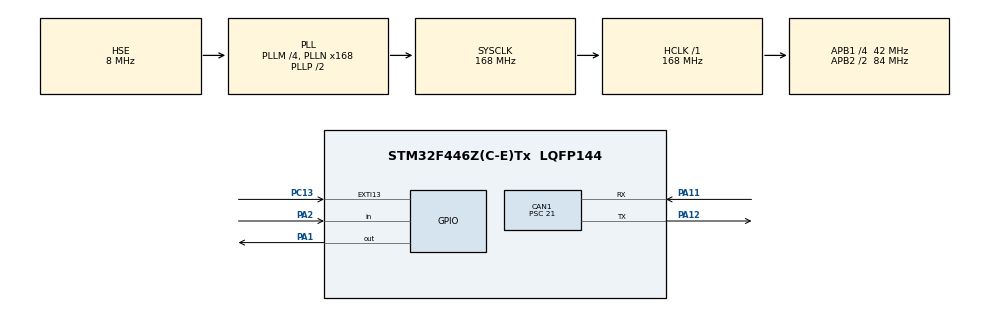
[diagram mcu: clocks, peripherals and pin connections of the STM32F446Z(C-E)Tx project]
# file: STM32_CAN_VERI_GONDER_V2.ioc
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CAN1.BS1=CAN_BS1_5TQ
CAN1.BS2=CAN_BS2_2TQ
CAN1.CalculateBaudRate=250000
CAN1.CalculateTimeBit=4000
CAN1.CalculateTimeQuantum=500.0
CAN1.Prescaler=21
Mcu.Family=STM32F4
Mcu.Name=STM32F446Z(C-E)Tx
Mcu.Package=LQFP144
NVIC.CAN1_RX1_IRQn=true\:0\:0\:false\:false\:true\:true\:true\:true
NVIC.EXTI15_10_IRQn=true\:0\:0\:false\:false\:true\:true\:true\:true
NVIC.PriorityGroup=NVIC_PRIORITYGROUP_4
PA1.Signal=GPIO_Output
PA11.Mode=CAN_Activate
PA11.Signal=CAN1_RX
PA12.Mode=CAN_Activate
PA12.Signal=CAN1_TX
PA13.Mode=Serial_Wire
PA13.Signal=SYS_JTMS-SWDIO
PA14.Mode=Serial_Wire
PA14.Signal=SYS_JTCK-SWCLK
PA2.Signal=GPIO_Input
PC13.Signal=GPXTI13
PH0-OSC_IN.Mode=HSE-External-Oscillator
PH0-OSC_IN.Signal=RCC_OSC_IN
PH1-OSC_OUT.Mode=HSE-External-Oscillator
PH1-OSC_OUT.Signal=RCC_OSC_OUT
ProjectManager.HeapSize=0x200
ProjectManager.StackSize=0x400
ProjectManager.TargetToolchain=STM32CubeIDE
RCC.AHBFreq_Value=168000000
RCC.APB1CLKDivider=RCC_HCLK_DIV4
RCC.APB1Freq_Value=42000000
RCC.APB1TimFreq_Value=84000000
RCC.APB2CLKDivider=RCC_HCLK_DIV2
RCC.APB2Freq_Value=84000000
RCC.APB2TimFreq_Value=168000000
RCC.CortexFreq_Value=168000000
RCC.HCLKFreq_Value=168000000
RCC.HSE_VALUE=8000000
RCC.PLLM=4
RCC.PLLN=168
RCC.PLLSourceVirtual=RCC_PLLSOURCE_HSE
RCC.SYSCLKFreq_VALUE=168000000
RCC.SYSCLKSource=RCC_SYSCLKSOURCE_PLLCLK
RCC.USBFreq_Value=168000000
RCC.VCOOutputFreq_Value=336000000
board=custom

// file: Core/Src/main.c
/* USER CODE BEGIN Header */
/**
  ******************************************************************************
  * @file           : main.c
  * @brief          : Main program body
  ******************************************************************************
  * @attention
  *
  * Copyright (c) 2024 STMicroelectronics.
  * All rights reserved.
  *
  * This software is licensed under terms that can be found in the LICENSE file
  * in the root directory of this software component.
  * If no LICENSE file comes with this software, it is provided AS-IS.
  *
  ******************************************************************************
  */
/* USER CODE END Header */
#include "main.h"

/* USER CODE BEGIN Includes */
#include  "dwt_stm32_delay.h"
/* USER CODE END Includes */

CAN_HandleTypeDef hcan1;

void SystemClock_Config(void);
static void MX_GPIO_Init(void);
static void MX_CAN1_Init(void);

/* USER CODE BEGIN 0 */

CAN_TxHeaderTypeDef TxHeader;
CAN_RxHeaderTypeDef RxHeader;
uint32_t TxMailbox;
uint8_t TxData[8];
uint8_t RxData[8];

uint32_t sensor_time;
uint32_t distance;
int datacheck = 0;

void HAL_GPIO_EXTI_Callback(uint16_t GPIO_Pin)
{
	if (GPIO_Pin == GPIO_PIN_13)
	{
		TxData[0] =100;
		TxData[1] = 10;
		HAL_CAN_AddTxMessage(&hcan1, &TxHeader, TxData, &TxMailbox);
	}

}

void HAL_CAN_RxFifo0MsgPendingCallback(CAN_HandleTypeDef *hcan)
{
	HAL_CAN_GetRxMessage(&hcan1, CAN_RX_FIFO0, &RxHeader, RxData);
	if(RxHeader.DLC ==2)
	{
		datacheck = 1;
	}
}

uint32_t Read_HCSR04()
{
	uint32_t local_time = 0;

	HAL_GPIO_WritePin(GPIOA, GPIO_PIN_1, GPIO_PIN_SET);
	DWT_Delay_us(10);
	HAL_GPIO_WritePin(GPIOA, GPIO_PIN_1, GPIO_PIN_RESET);

	while(! (HAL_GPIO_ReadPin(GPIOA, GPIO_PIN_2)));

	while(HAL_GPIO_ReadPin(GPIOA, GPIO_PIN_2))
	{
		local_time ++;
		DWT_Delay_us(1);
	}
	return local_time * 2;
}
/* USER CODE END 0 */

int main(void)
{

  /* MCU Configuration--------------------------------------------------------*/

  /* Reset of all peripherals, Initializes the Flash interface and the Systick. */
  HAL_Init();

  /* Configure the system clock */
  SystemClock_Config();

  /* Initialize all configured peripherals */
  MX_GPIO_Init();
  MX_CAN1_Init();
  /* USER CODE BEGIN 2 */
  HAL_CAN_Start(&hcan1);
  HAL_CAN_ActivateNotification(&hcan1, CAN_IT_RX_FIFO0_MSG_PENDING);

  TxHeader.DLC = 2;  // data length
  TxHeader.IDE = CAN_ID_STD;
  TxHeader.RTR = CAN_RTR_DATA;
  TxHeader.StdId = 0x446;  // ID can be between Hex1 and Hex7FF (1-2047 decimal)

  /* USER CODE END 2 */

  /* Infinite loop */
  /* USER CODE BEGIN WHILE */
  while (1)
  {
//	  sensor_time = Read_HCSR04();
//	  distance = sensor_time* .034 / 2;
//	  HAL_CAN_AddTxMessage(&hcan2, &TxHeader, distance, &TxMailbox);
    /* USER CODE END WHILE */

    /* USER CODE BEGIN 3 */
	  if(datacheck)
	  {
		  for (int i= 0; i<RxData[1]; i++)
		  {
			  HAL_GPIO_TogglePin(GPIOA, GPIO_PIN_5);
			  HAL_Delay(RxData[0]);
		  }
		  datacheck = 0;
	  }
  }
  /* USER CODE END 3 */
}

void SystemClock_Config(void)
{
  RCC_OscInitTypeDef RCC_OscInitStruct = {0};
  RCC_ClkInitTypeDef RCC_ClkInitStruct = {0};

  /** Configure the main internal regulator output voltage
  */
  __HAL_RCC_PWR_CLK_ENABLE();
  __HAL_PWR_VOLTAGESCALING_CONFIG(PWR_REGULATOR_VOLTAGE_SCALE1);

  /** Initializes the RCC Oscillators according to the specified parameters
  * in the RCC_OscInitTypeDef structure.
  */
  RCC_OscInitStruct.OscillatorType = RCC_OSCILLATORTYPE_HSE;
  RCC_OscInitStruct.HSEState = RCC_HSE_ON;
  RCC_OscInitStruct.PLL.PLLState = RCC_PLL_ON;
  RCC_OscInitStruct.PLL.PLLSource = RCC_PLLSOURCE_HSE;
  RCC_OscInitStruct.PLL.PLLM = 4;
  RCC_OscInitStruct.PLL.PLLN = 168;
  RCC_OscInitStruct.PLL.PLLP = RCC_PLLP_DIV2;
  RCC_OscInitStruct.PLL.PLLQ = 2;
  RCC_OscInitStruct.PLL.PLLR = 2;
  if (HAL_RCC_OscConfig(&RCC_OscInitStruct) != HAL_OK)
  {
    Error_Handler();
  }

  /** Initializes the CPU, AHB and APB buses clocks
  */
  RCC_ClkInitStruct.ClockType = RCC_CLOCKTYPE_HCLK|RCC_CLOCKTYPE_SYSCLK
                              |RCC_CLOCKTYPE_PCLK1|RCC_CLOCKTYPE_PCLK2;
  RCC_ClkInitStruct.SYSCLKSource = RCC_SYSCLKSOURCE_PLLCLK;
  RCC_ClkInitStruct.AHBCLKDivider = RCC_SYSCLK_DIV1;
  RCC_ClkInitStruct.APB1CLKDivider = RCC_HCLK_DIV4;
  RCC_ClkInitStruct.APB2CLKDivider = RCC_HCLK_DIV2;

  if (HAL_RCC_ClockConfig(&RCC_ClkInitStruct, FLASH_LATENCY_5) != HAL_OK)
  {
    Error_Handler();
  }
}

static void MX_CAN1_Init(void)
{

  hcan1.Instance = CAN1;
  hcan1.Init.Prescaler = 21;
  hcan1.Init.Mode = CAN_MODE_NORMAL;
  hcan1.Init.SyncJumpWidth = CAN_SJW_1TQ;
  hcan1.Init.TimeSeg1 = CAN_BS1_5TQ;
  hcan1.Init.TimeSeg2 = CAN_BS2_2TQ;
  hcan1.Init.TimeTriggeredMode = DISABLE;
  hcan1.Init.AutoBusOff = DISABLE;
  hcan1.Init.AutoWakeUp = DISABLE;
  hcan1.Init.AutoRetransmission = DISABLE;
  hcan1.Init.ReceiveFifoLocked = DISABLE;
  hcan1.Init.TransmitFifoPriority = DISABLE;
  if (HAL_CAN_Init(&hcan1) != HAL_OK)
  {
    Error_Handler();
  }
  /* USER CODE BEGIN CAN1_Init 2 */
  CAN_FilterTypeDef canfilterconfig;

    canfilterconfig.FilterActivation = CAN_FILTER_ENABLE;
    canfilterconfig.FilterBank = 18;  // which filter bank to use from the assigned ones
    canfilterconfig.FilterFIFOAssignment = CAN_FILTER_FIFO0;
    canfilterconfig.FilterIdHigh = 0x103<<5;
    canfilterconfig.FilterIdLow = 0;
    canfilterconfig.FilterMaskIdHigh = 0x103<<5;
    canfilterconfig.FilterMaskIdLow = 0x0000;
    canfilterconfig.FilterMode = CAN_FILTERMODE_IDMASK;
    canfilterconfig.FilterScale = CAN_FILTERSCALE_32BIT;
    canfilterconfig.SlaveStartFilterBank = 20;  // how many filters to assign to the CAN1 (master can)

    HAL_CAN_ConfigFilter(&hcan1, &canfilterconfig);
  /* USER CODE END CAN1_Init 2 */

}

static void MX_GPIO_Init(void)
{
  GPIO_InitTypeDef GPIO_InitStruct = {0};

  /* GPIO Ports Clock Enable */
  __HAL_RCC_GPIOC_CLK_ENABLE();
  __HAL_RCC_GPIOH_CLK_ENABLE();
  __HAL_RCC_GPIOA_CLK_ENABLE();

  /*Configure GPIO pin Output Level */
  HAL_GPIO_WritePin(GPIOA, GPIO_PIN_1, GPIO_PIN_RESET);

  /*Configure GPIO pin : PC13 */
  GPIO_InitStruct.Pin = GPIO_PIN_13;
  GPIO_InitStruct.Mode = GPIO_MODE_IT_RISING;
  GPIO_InitStruct.Pull = GPIO_NOPULL;
  HAL_GPIO_Init(GPIOC, &GPIO_InitStruct);

  /*Configure GPIO pin : PA1 */
  GPIO_InitStruct.Pin = GPIO_PIN_1;
  GPIO_InitStruct.Mode = GPIO_MODE_OUTPUT_PP;
  GPIO_InitStruct.Pull = GPIO_NOPULL;
  GPIO_InitStruct.Speed = GPIO_SPEED_FREQ_LOW;
  HAL_GPIO_Init(GPIOA, &GPIO_InitStruct);

  /*Configure GPIO pin : PA2 */
  GPIO_InitStruct.Pin = GPIO_PIN_2;
  GPIO_InitStruct.Mode = GPIO_MODE_INPUT;
  GPIO_InitStruct.Pull = GPIO_NOPULL;
  HAL_GPIO_Init(GPIOA, &GPIO_InitStruct);

  /* EXTI interrupt init*/
  HAL_NVIC_SetPriority(EXTI15_10_IRQn, 0, 0);
  HAL_NVIC_EnableIRQ(EXTI15_10_IRQn);

}

void Error_Handler(void)
{
  __disable_irq();
  while (1)
  {
  }
}
